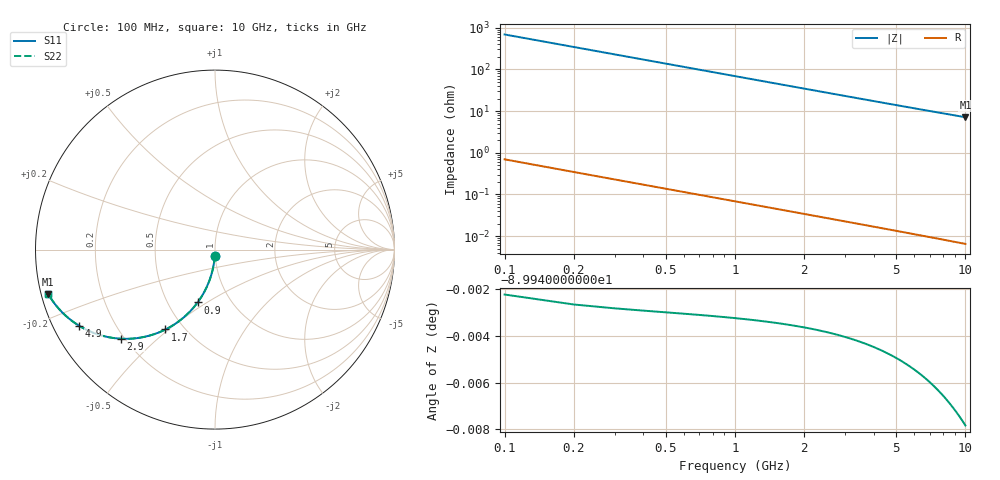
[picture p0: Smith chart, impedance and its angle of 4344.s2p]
# Hz S RI R 50.00
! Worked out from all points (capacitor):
!   100 points, 100 MHz to 10 GHz, reference 50 ohm
!   read as one part in shunt: C = 2.31 pF near 100 MHz
!   lowest |Z| = 7.12 ohm at 10 GHz (marker M1)
!   S11 on the Smith chart (normalised r, x): 100 MHz: 0.99, -0.07; 900 MHz: 0.70, -0.46; 1.7 GHz: 0.40, -0.49; 2.9 GHz: 0.19, -0.39; 4.9 GHz: 0.08, -0.26; 10 GHz: 0.02, -0.13
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1e8  -0.00133 -0.0362  0.9986 -0.0364  0.9986 -0.0364  -0.00133 -0.0362
2e8  -0.0053 -0.0721  0.9947 -0.0725  0.9947 -0.0725  -0.0053 -0.0721
3e8  -0.0118 -0.1075  0.9881 -0.108  0.9881 -0.108  -0.0118 -0.1075
4e8  -0.0208 -0.142  0.9792 -0.1426  0.9792 -0.1426  -0.0208 -0.142
5e8  -0.0321 -0.1754  0.9679 -0.1762  0.9679 -0.1762  -0.0321 -0.1754
6e8  -0.0455 -0.2075  0.9544 -0.2085  0.9544 -0.2085  -0.0455 -0.2075
7e8  -0.0609 -0.2382  0.939 -0.2393  0.939 -0.2393  -0.0609 -0.2382
9e8  -0.0968 -0.2944  0.9032 -0.2959  0.9032 -0.2959  -0.0968 -0.2944
1.1e9  -0.1378 -0.3433  0.8621 -0.3452  0.8621 -0.3452  -0.1378 -0.3433
1.3e9  -0.1824 -0.3846  0.8175 -0.3868  0.8175 -0.3868  -0.1824 -0.3846
1.7e9  -0.2759 -0.4451  0.7241 -0.4479  0.7241 -0.4479  -0.2759 -0.4451
1.8e9  -0.2992 -0.4559  0.7007 -0.4589  0.7007 -0.4589  -0.2992 -0.4559
2.3e9  -0.4104 -0.4895  0.5895 -0.4933  0.5895 -0.4933  -0.4104 -0.4895
2.9e9  -0.5249 -0.4965  0.475 -0.5013  0.475 -0.5013  -0.5249 -0.4965
3.4e9  -0.6027 -0.486  0.3973 -0.4917  0.3973 -0.4917  -0.6027 -0.486
4.1e9  -0.6877 -0.4595  0.3122 -0.4664  0.3122 -0.4664  -0.6877 -0.4595
4.9e9  -0.7585 -0.4233  0.2414 -0.4316  0.2414 -0.4316  -0.7585 -0.4233
5.1e9  -0.7728 -0.4142  0.2271 -0.4228  0.2271 -0.4228  -0.7728 -0.4142
5.9e9  -0.8197 -0.3788  0.1802 -0.3889  0.1802 -0.3889  -0.8197 -0.3788
6.7e9  -0.8542 -0.3466  0.1457 -0.358  0.1457 -0.358  -0.8542 -0.3466
8.4e9  -0.902 -0.2894  0.0978 -0.3039  0.0978 -0.3039  -0.902 -0.2894
1e10  -0.9289 -0.2476  0.0709 -0.265  0.0709 -0.265  -0.9289 -0.2476
